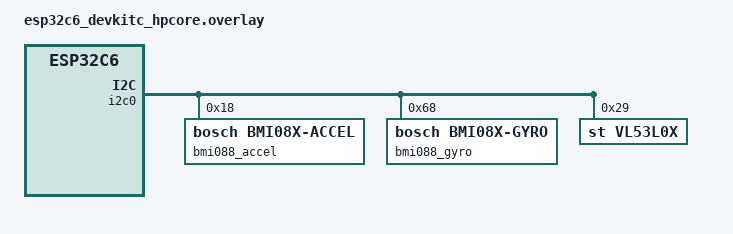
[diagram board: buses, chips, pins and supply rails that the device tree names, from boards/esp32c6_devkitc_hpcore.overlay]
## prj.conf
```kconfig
CONFIG_SENSOR=y
CONFIG_BMI08X=y
CONFIG_I2C=y
CONFIG_GPIO=y
CONFIG_STDOUT_CONSOLE=y

# ST VL53L0X support (enables vendor STLIB + driver)
CONFIG_VL53L0X=y
CONFIG_VL53L0X_PROXIMITY_THRESHOLD=100

CONFIG_CBPRINTF_FP_SUPPORT=y

# Debugging (so we can see why init fails)
CONFIG_LOG=y
CONFIG_LOG_MODE_IMMEDIATE=y
CONFIG_LOG_BACKEND_UART=y
CONFIG_SENSOR_LOG_LEVEL_DBG=y
```

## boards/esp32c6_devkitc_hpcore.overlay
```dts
/*
 * SPDX-License-Identifier: Apache-2.0
 * 
 * Overlay for custom ESP32C6 PCB
 * Override I2C pin assignments to match your PCB
 */

&pinctrl {
	i2c0_default: i2c0_default {
		group1 {
			pinmux = <I2C0_SDA_GPIO15>,  
				 <I2C0_SCL_GPIO14>;  
			bias-pull-up;
			drive-open-drain;
			output-high;
		};
	};
};

&i2c0 {
	status = "okay";
	pinctrl-0 = <&i2c0_default>;
	pinctrl-names = "default";

	/* BMI088 Accelerometer at I2C address 0x18 */
	bmi088_accel: bmi08x@18 {
		compatible = "bosch,bmi08x-accel";
		reg = <0x18>;
		accel-hz = "800";
		accel-fs = <6>;
		status = "okay";
	};

	/* BMI088 Gyroscope at I2C address 0x68 */
	bmi088_gyro: bmi08x@68 {
		compatible = "bosch,bmi08x-gyro";
		reg = <0x68>;
		gyro-hz = "1000_116";
		gyro-fs = <1000>;
		status = "okay";
	};

	/* VL53L0X Time-of-Flight sensor at I2C address 0x29 */
	vl53l0x: vl53l0x@29 {
		compatible = "st,vl53l0x";
		reg = <0x29>;
		status = "okay";
	};
};

/ {
	/* Define aliases for easier access in code */
	aliases {
		bmi088-accel = &bmi088_accel;
		bmi088-gyro = &bmi088_gyro;
		vl53l0x = &vl53l0x;
	};
};
```

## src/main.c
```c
/*
 * SPDX-License-Identifier: Apache-2.0
 */

#include <zephyr/kernel.h>
#include <zephyr/device.h>
#include <zephyr/drivers/i2c.h>
#include <zephyr/drivers/sensor.h>
#include <zephyr/sys/printk.h>

int main(void)
{
	const struct device *const i2c0 = DEVICE_DT_GET(DT_NODELABEL(i2c0));
	const struct device *const vl53l0x_dev = DEVICE_DT_GET_ONE(st_vl53l0x);
	struct sensor_value distance;
	int ret;

	if (!device_is_ready(i2c0)) {
		printk("I2C0: device not ready\n");
	} else {
		/* Quick probe: does anything ACK at 0x29? */
		ret = i2c_write(i2c0, NULL, 0, 0x29);
		printk("I2C0: probe 0x29 %s (ret=%d)\n", (ret == 0) ? "ACK" : "NACK", ret);
	}

	if (!device_is_ready(vl53l0x_dev)) {
		printk("VL53L0X: device not ready\n");
		return 0;
	}

	printk("VL53L0X: device ready, starting measurements\n");

	while (1) {
		ret = sensor_sample_fetch(vl53l0x_dev);
		if (ret < 0) {
			printk("VL53L0X: sensor_sample_fetch failed (%d)\n", ret);
			k_msleep(1000);
			continue;
		}

		ret = sensor_channel_get(vl53l0x_dev, SENSOR_CHAN_DISTANCE, &distance);
		if (ret < 0) {
			printk("VL53L0X: sensor_channel_get failed (%d)\n", ret);
		} else {
			printk("VL53L0X: distance = %lld mm\n",
			       sensor_value_to_milli(&distance));
		}

		k_msleep(1000);
	}

	return 0;
}
```
